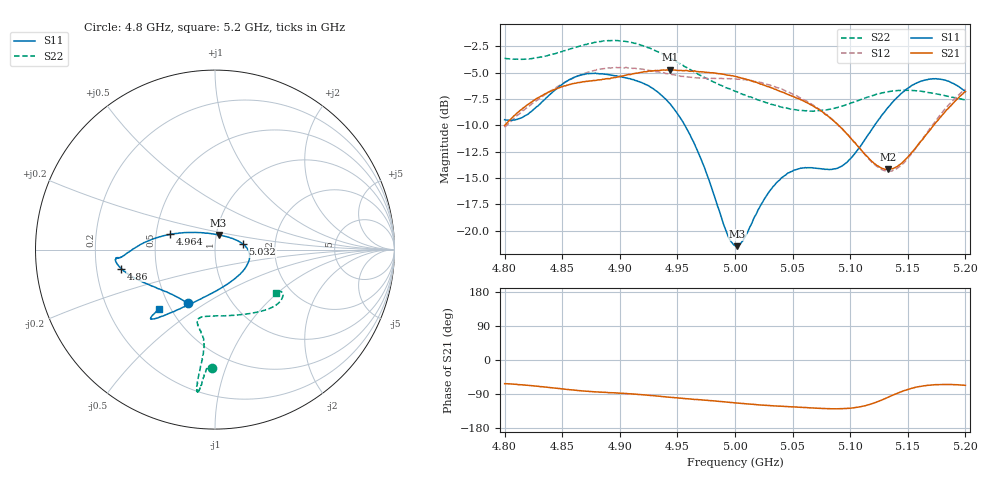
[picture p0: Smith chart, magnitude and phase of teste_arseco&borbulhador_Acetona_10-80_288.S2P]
! Network Analyzer HP8722D
! Hewlett-Packard
! Data name: Linha & Wilkinson
! Saver's name: Rodrigo Anjos
! Comments: Teste da utilização de aquisição
! continua pelo VNA HP8722D
! Time and date: 17/4/2025 16:45
!  Frequency  S11  S21  S12  S22
# HZ  S  MA R 50
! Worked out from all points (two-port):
!   401 points, 4.8 GHz to 5.2 GHz, reference 50 ohm
!   highest |S21| = -4.73 dB at 4.944 GHz (marker M1); lowest = -14.2 dB at 5.133 GHz (marker M2)
!   |S21| within 3 dB of the highest: 4.824 GHz to 5.06 GHz (236 MHz wide, 4.78 % of centre); 5.190839 GHz to end of sweep
!   lowest |S11| = -21.5 dB at 5.002 GHz (marker M3), VSWR 1.18, Z = 51.4 + j8.48 ohm
!   |S11| at or under -10 dB: 4.956 GHz to 5.121 GHz (164.8 MHz wide, 3.27 % of centre)
!   |S22| runs from -8.7 to -1.9 dB; largest |S21 - S12| = 0.87
!   S11 on the Smith chart (normalised r, x): 4.8 GHz: 0.63, -0.42; 4.86 GHz: 0.31, -0.09; 4.964 GHz: 0.59, +0.11; 5.032 GHz: 1.37, +0.09; 5.2 GHz: 0.43, -0.36
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4.8e9  0.3362 -116.9  0.3154 -62.4  0.3096 -176.6  0.6576 -91.4
4.818e9  0.3515 -136.1  0.3886 -66.1  0.3788 -176.1  0.6517 -93.0
4.86e9  0.5336 -168.6  0.499 -79.2  0.5315 -179.6  0.7378 -95.4
4.867e9  0.549 -171.2  0.5073 -81.5  0.5505 179.2  0.7576 -95.8
4.898e9  0.5413 -175.1  0.5353 -87.0  0.5939 173.3  0.7985 -97.0
4.934e9  0.4498 179.1  0.5745 -95.6  0.5662 170.1  0.7008 -97.4
4.944e9  0.398 174.4  0.5804 -98.5  0.5517 170.2  0.6572 -97.1
4.964e9  0.2639 161.2  0.5713 -103.7  0.5331 171.9  0.5697 -96.4
4.993e9  0.09727 111.2  0.5474 -111.2  0.5276 174.1  0.4756 -98.9
5e9  0.08483 84.5  0.5406 -113.0  0.5254 174.2  0.4593 -100.3
5.002e9  0.0844 76.1  0.5372 -113.6  0.5232 174.1  0.4551 -100.7
5.032e9  0.1587 11.3  0.4753 -120.7  0.4865 173.0  0.3974 -103.5
5.047e9  0.1885 -3.0  0.4405 -123.2  0.4536 172.4  0.3792 -99.6
5.067e9  0.1989 -24.3  0.3935 -126.4  0.3971 172.1  0.3688 -88.3
5.095e9  0.2066 -72.7  0.296 -128.3  0.297 174.6  0.3931 -66.6
5.119e9  0.3037 -109.6  0.2127 -115.3  0.2104 -170.5  0.4372 -50.6
5.133e9  0.385 -120.7  0.1952 -98.1  0.1912 -151.4  0.4565 -43.7
5.134e9  0.3905 -121.5  0.1955 -96.7  0.1914 -149.9  0.4575 -43.3
5.148e9  0.4662 -127.8  0.2178 -79.8  0.2138 -129.9  0.4642 -38.2
5.167e9  0.5204 -132.1  0.2896 -67.0  0.2932 -113.7  0.4534 -33.6
5.184e9  0.5139 -133.4  0.3758 -64.5  0.3875 -108.9  0.4356 -32.4
5.2e9  0.4566 -133.3  0.4575 -66.9  0.4695 -109.2  0.4173 -35.0
